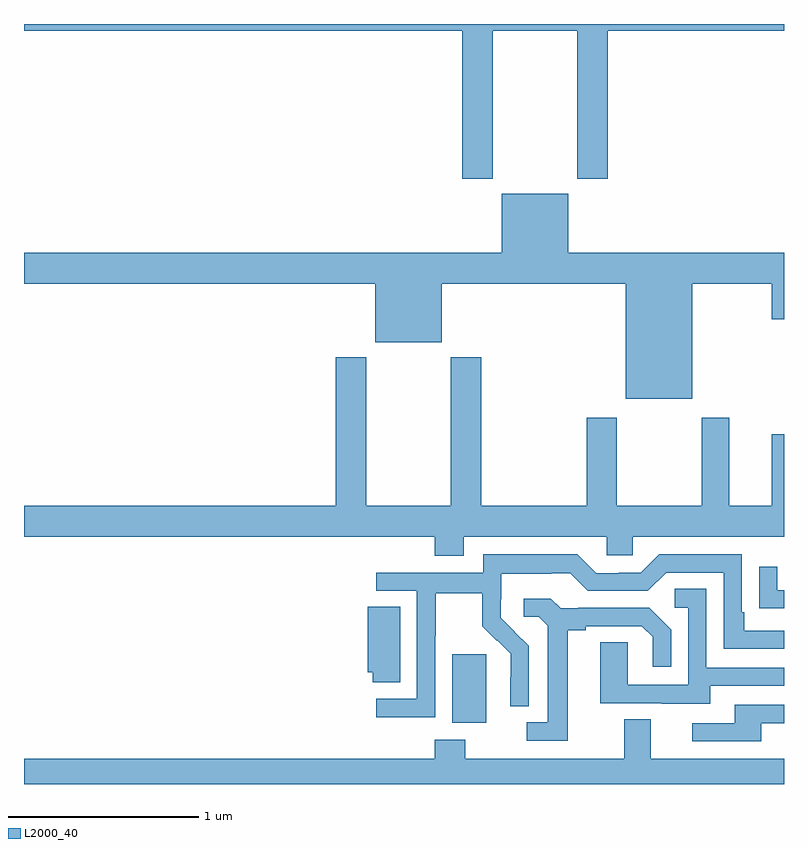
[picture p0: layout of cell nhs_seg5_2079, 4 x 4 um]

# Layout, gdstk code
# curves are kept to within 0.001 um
import gdstk
lib = gdstk.Library(unit=1e-6, precision=1e-09)
def R(c, l, rs):  # rectangles x0, y0, x1, y1
    for r in rs: c.add(gdstk.rectangle(r[:2], r[2:], *l))
def P(c, l, *ps):  # polygons
    for p in ps: c.add(gdstk.Polygon(p, *l))
L2000_40 = (2000, 40)

nhs_seg5_2079 = lib.new_cell('nhs_seg5_2079')
R(nhs_seg5_2079, L2000_40, [(235.253,849.122,235.432,849.483)])
P(nhs_seg5_2079, L2000_40, [(235.467,852.764),(235.912,852.764),(235.912,851.985),(236.072,851.985),(236.072,852.764),(237,852.764),(237,852.799),(233,852.799),(233,852.764),(235.307,852.764),(235.307,851.985),(235.467,851.985)],
  [(236.518,851.432),(236.936,851.432),(236.936,851.244),(237,851.244),(237,851.596),(235.864,851.596),(235.864,851.905),(235.514,851.905),(235.514,851.596),(233,851.596),(233,851.432),(234.848,851.432),(234.848,851.123),(235.198,851.123),(235.198,851.432),(236.168,851.432),(236.168,850.826),(236.518,850.826)],
  [(235.315,850.1),(236.067,850.1),(236.067,850.002),(236.205,850.002),(236.205,850.1),(237,850.1),(237,850.639),(236.936,850.639),(236.936,850.264),(236.713,850.264),(236.713,850.726),(236.566,850.726),(236.566,850.264),(236.121,850.264),(236.121,850.726),(235.961,850.726),(235.961,850.264),(235.406,850.264),(235.406,851.044),(235.246,851.044),(235.246,850.264),(234.801,850.264),(234.801,851.044),(234.641,851.044),(234.641,850.264),(233,850.264),(233,850.1),(235.163,850.1),(235.163,850.001),(235.315,850.001)],
  [(235.164,849.58),(235.167,849.58),(235.167,849.804),(235.411,849.804),(235.411,849.629),(235.488,849.552),(235.491,849.555),(235.562,849.485),(235.562,849.362),(235.56,849.362),(235.56,849.208),(235.656,849.208),(235.656,849.526),(235.51,849.674),(235.51,849.771),(235.512,849.771),(235.512,849.905),(235.775,849.905),(235.775,849.909),(235.875,849.909),(235.968,849.816),(236.283,849.816),(236.379,849.912),(236.682,849.912),(236.682,849.51),(237,849.51),(237,849.606),(236.791,849.606),(236.791,849.703),(236.778,849.703),(236.778,850.008),(236.343,850.008),(236.247,849.912),(236.129,849.912),(236.129,849.909),(236.013,849.909),(235.913,850.009),(235.416,850.009),(235.416,849.912),(234.855,849.912),(234.855,849.816),(235.068,849.816),(235.068,849.249),(234.855,849.249),(234.855,849.151),(235.164,849.151)],
  [(237,849.819),(236.965,849.819),(236.965,849.943),(236.869,849.943),(236.869,849.724),(236.971,849.724),(236.971,849.723),(237,849.723)],
  [(236.611,849.315),(237,849.315),(237,849.411),(236.592,849.411),(236.592,849.827),(236.424,849.827),(236.424,849.726),(236.496,849.726),(236.496,849.321),(236.178,849.321),(236.178,849.545),(236.033,849.545),(236.033,849.225),(236.357,849.225),(236.357,849.221),(236.611,849.221)],
  [(235.861,849.608),(235.957,849.608),(235.957,849.63),(236.252,849.63),(236.309,849.573),(236.309,849.417),(236.406,849.417),(236.406,849.61),(236.29,849.726),(235.918,849.726),(235.918,849.723),(235.824,849.723),(235.772,849.775),(235.629,849.775),(235.629,849.678),(235.71,849.678),(235.757,849.631),(235.757,849.123),(235.647,849.123),(235.647,849.027),(235.861,849.027)],
  [(234.979,849.731),(234.809,849.731),(234.809,849.387),(234.836,849.387),(234.836,849.334),(234.979,849.334)],
  [(236.881,849.12),(237,849.12),(237,849.216),(236.741,849.216),(236.741,849.12),(236.517,849.12),(236.517,849.024),(236.881,849.024)],
  [(233,848.799),(237,848.799),(237,848.932),(236.299,848.932),(236.299,849.14),(236.159,849.14),(236.159,848.932),(235.323,848.932),(235.323,849.031),(235.163,849.031),(235.163,848.932),(233,848.932)])

lib.write_gds('nhs_seg5_2079.gds')
